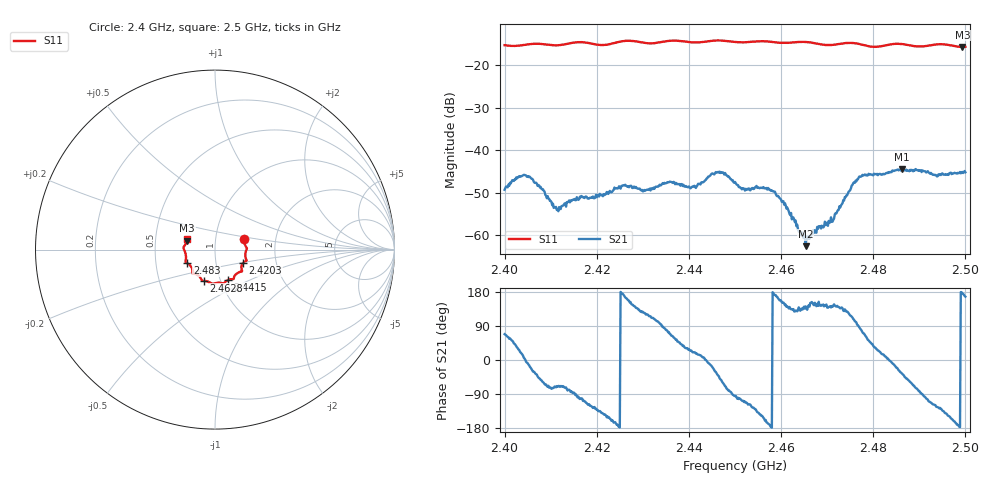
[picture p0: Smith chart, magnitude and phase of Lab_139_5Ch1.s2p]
# Hz S RI R 50
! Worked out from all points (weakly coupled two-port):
!   601 points, 2.4 GHz to 2.5 GHz, reference 50 ohm
!   highest |S21| = -44.43 dB at 2.4862 GHz (marker M1); lowest = -62.6 dB at 2.4653 GHz (marker M2)
!   lowest |S11| = -15.7 dB at 2.4993 GHz (marker M3), VSWR 1.39, Z = 36.4 + j3.67 ohm
!   |S11| at or under -10 dB: start of sweep to end of sweep
!   S12 and S22 are empty: the file has one direction only
!   S11 on the Smith chart (normalised r, x): 2.4 GHz: 1.38, +0.16; 2.4203 GHz: 1.35, -0.21; 2.4415 GHz: 1.09, -0.38; 2.4628 GHz: 0.83, -0.30; 2.483 GHz: 0.73, -0.11; 2.5 GHz: 0.73, +0.09
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2.4e9  0.1618 0.0565  0.00127 0.00317  0 0  0 0
2.4045e9  0.1727 0.0162  0.00507 3.87e-05  0 0  0 0
2.411167e9  0.1692 -0.0225  0.000658 -0.00205  0 0  0 0
2.416667e9  0.1754 -0.0619  -0.000634 -0.00282  0 0  0 0
2.420333e9  0.1561 -0.0748  -0.00205 -0.00206  0 0  0 0
2.425833e9  0.1506 -0.1183  -0.00382 0.000559  0 0  0 0
2.430167e9  0.1318 -0.1274  -0.00189 0.00269  0 0  0 0
2.433333e9  0.1085 -0.148  -0.000694 0.00365  0 0  0 0
2.4415e9  0.0731 -0.1689  0.00343 0.00106  0 0  0 0
2.446167e9  0.0487 -0.1885  0.00427 -0.00341  0 0  0 0
2.45e9  0.0298 -0.1847  -0.000385 -0.0042  0 0  0 0
2.458167e9  -0.0248 -0.1851  -0.00329 6e-05  0 0  0 0
2.462833e9  -0.0623 -0.1743  -0.000949 0.0012  0 0  0 0
2.465333e9  -0.0724 -0.1722  -0.000581 0.000463  0 0  0 0
2.466667e9  -0.0752 -0.1673  -0.000942 0.00048  0 0  0 0
2.471e9  -0.1014 -0.1393  -0.00114 0.000878  0 0  0 0
2.477167e9  -0.1253 -0.1232  0.000616 0.00484  0 0  0 0
2.483e9  -0.1542 -0.0763  0.00539 0.000366  0 0  0 0
2.483333e9  -0.1564 -0.0752  0.00551 0.000142  0 0  0 0
2.486167e9  -0.1642 -0.0656  0.00492 -0.00344  0 0  0 0
2.499333e9  -0.1556 0.0491  -0.00553 0.000448  0 0  0 0
2.5e9  -0.1535 0.058  -0.00535 0.00122  0 0  0 0
